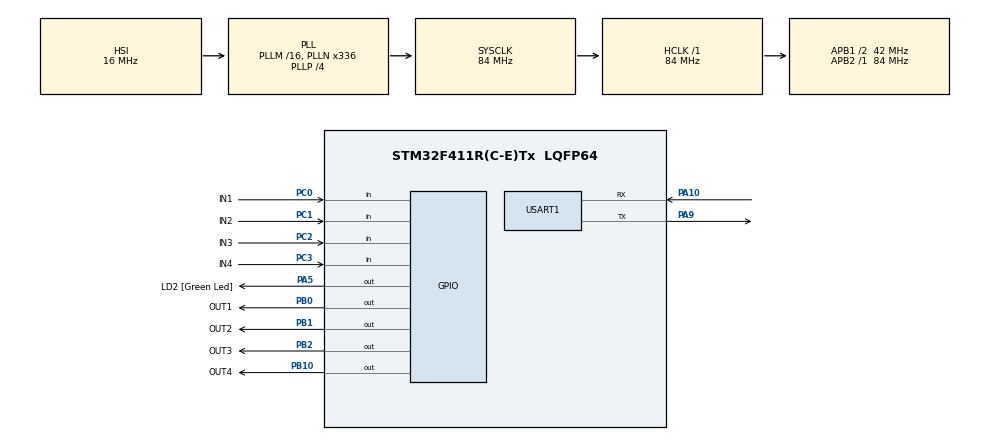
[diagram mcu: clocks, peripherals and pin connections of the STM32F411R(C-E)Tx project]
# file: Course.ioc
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FREERTOS.Tasks01=out1Task,0,128,StartOut1Task,Default,NULL,Dynamic,NULL,NULL;uartTask,-3,512,StartUartTask,Default,NULL,Dynamic,NULL,NULL;inputTask,1,512,StartInputTask,Default,NULL,Dynamic,NULL,NULL;out2Task,0,128,StartOut2Task,Default,NULL,Dynamic,NULL,NULL;out3Task,0,128,StartOut3Task,Default,NULL,Dynamic,NULL,NULL;out4Task,0,128,StartOut4Task,Default,NULL,Dynamic,NULL,NULL
FREERTOS.configUSE_NEWLIB_REENTRANT=0
Mcu.Family=STM32F4
Mcu.Name=STM32F411R(C-E)Tx
Mcu.Package=LQFP64
NVIC.PriorityGroup=NVIC_PRIORITYGROUP_4
NVIC.TIM5_IRQn=true\:15\:0\:false\:false\:true\:false\:false\:true\:true
NVIC.TimeBase=TIM5_IRQn
NVIC.TimeBaseIP=TIM5
PA10.Mode=Asynchronous
PA10.Signal=USART1_RX
PA13.GPIO_Label=TMS
PA13.Mode=Serial_Wire
PA13.Signal=SYS_JTMS-SWDIO
PA14.GPIO_Label=TCK
PA14.Mode=Serial_Wire
PA14.Signal=SYS_JTCK-SWCLK
PA5.GPIO_Label=LD2 [Green Led]
PA5.Signal=GPIO_Output
PA9.Mode=Asynchronous
PA9.Signal=USART1_TX
PB0.GPIO_Label=OUT1
PB0.Signal=GPIO_Output
PB1.GPIO_Label=OUT2
PB1.Signal=GPIO_Output
PB10.GPIO_Label=OUT4
PB10.Signal=GPIO_Output
PB2.GPIO_Label=OUT3
PB2.Signal=GPIO_Output
PB3.GPIO_Label=SWO
PB3.Signal=SYS_JTDO-SWO
PC0.GPIO_Label=IN1
PC0.GPIO_PuPd=GPIO_PULLUP
PC0.Signal=GPIO_Input
PC1.GPIO_Label=IN2
PC1.GPIO_PuPd=GPIO_PULLUP
PC1.Signal=GPIO_Input
PC14-OSC32_IN.Signal=RCC_OSC32_IN
PC15-OSC32_OUT.Signal=RCC_OSC32_OUT
PC2.GPIO_Label=IN3
PC2.GPIO_PuPd=GPIO_PULLUP
PC2.Signal=GPIO_Input
PC3.GPIO_Label=IN4
PC3.GPIO_PuPd=GPIO_PULLUP
PC3.Signal=GPIO_Input
PH0\ -\ OSC_IN.Signal=RCC_OSC_IN
PH1\ -\ OSC_OUT.Signal=RCC_OSC_OUT
ProjectManager.HeapSize=0x2000
ProjectManager.StackSize=0x800
ProjectManager.TargetToolchain=STM32CubeIDE
RCC.48MHZClocksFreq_Value=84000000
RCC.AHBFreq_Value=84000000
RCC.APB1CLKDivider=RCC_HCLK_DIV2
RCC.APB1Freq_Value=42000000
RCC.APB1TimFreq_Value=84000000
RCC.APB2Freq_Value=84000000
RCC.APB2TimFreq_Value=84000000
RCC.CortexFreq_Value=84000000
RCC.FLatency-AdvancedSettings=FLASH_LATENCY_2
RCC.HCLKFreq_Value=84000000
RCC.HSE_VALUE=8000000
RCC.HSI_VALUE=16000000
RCC.LSE_VALUE=32768
RCC.PLLN=336
RCC.PLLP=RCC_PLLP_DIV4
RCC.SYSCLKFreq_VALUE=84000000
RCC.SYSCLKSource=RCC_SYSCLKSOURCE_PLLCLK
RCC.VCOOutputFreq_Value=336000000
USART1.VirtualMode=VM_ASYNC
VP_FREERTOS_VS_CMSIS_V1.Mode=CMSIS_V1
VP_SYS_VS_tim5.Mode=TIM5
board=NUCLEO-F411RE

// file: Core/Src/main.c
/* USER CODE BEGIN Header */
/**
  ******************************************************************************
  * @file           : main.c
  * @brief          : Main program body
  ******************************************************************************
  * @attention
  *
  * Copyright (c) 2026 STMicroelectronics.
  * All rights reserved.
  *
  * This software is licensed under terms that can be found in the LICENSE file
  * in the root directory of this software component.
  * If no LICENSE file comes with this software, it is provided AS-IS.
  *
  ******************************************************************************
  */
/* USER CODE END Header */
#include "main.h"
#include "cmsis_os.h"

/* USER CODE BEGIN Includes */
#include <string.h>
#include <stdio.h>
#include "event_groups.h"
/* USER CODE END Includes */

/* USER CODE BEGIN PD */

#define EVT_OUT1_CHANGED   (1U << 0)
#define EVT_OUT2_CHANGED   (1U << 1)
#define EVT_OUT3_CHANGED   (1U << 2)
#define EVT_OUT4_CHANGED   (1U << 3)

#define OUT_COUNT 4

/* USER CODE END PD */

UART_HandleTypeDef huart1;

osThreadId out1TaskHandle;
osThreadId uartTaskHandle;
osThreadId inputTaskHandle;
osThreadId out2TaskHandle;
osThreadId out3TaskHandle;
osThreadId out4TaskHandle;
/* USER CODE BEGIN PV */
EventGroupHandle_t ctrlEventGroup;
static volatile uint8_t out_masks[OUT_COUNT] =
{
    0x08, //1000
    0x04, //0100
    0x02, //0010
    0x01  //0001
};

/*
 * bit0 -> OUT1
 * bit1 -> OUT2
 * bit2 -> OUT3
 * bit3 -> OUT4
 */
static volatile uint8_t g_output_state = 0x00U;
static char rx_line[64];
static size_t rx_pos = 0;
static volatile uint8_t g_mask_update_request = 0;
/* USER CODE END PV */

void SystemClock_Config(void);
static void MX_GPIO_Init(void);
static void MX_USART1_UART_Init(void);
void StartOut1Task(void const * argument);
void StartUartTask(void const * argument);
void StartInputTask(void const * argument);
void StartOut2Task(void const * argument);
void StartOut3Task(void const * argument);
void StartOut4Task(void const * argument);

/* USER CODE BEGIN PFP */
static void UartSend(const char *s);
static void ProcessCommand(char *cmd);
/* USER CODE END PFP */

/* USER CODE BEGIN 0 */

static void UartSend(const char *s)
{
  HAL_UART_Transmit(&huart1, (uint8_t*)s, (uint16_t)strlen(s), 100);
}

static void ProcessCommand(char *cmd)
{
  char resp[64];

  size_t n = strlen(cmd);
  while (n > 0 && (cmd[n - 1] == '\r' || cmd[n - 1] == '\n'))
  {
    cmd[n - 1] = '\0';
    n--;
  }

  /* In? — читаем пины напрямую */
  if (strcmp(cmd, "In?") == 0)
  {
    int in1 = (HAL_GPIO_ReadPin(IN1_GPIO_Port, IN1_Pin) == GPIO_PIN_RESET) ? 1 : 0;
    int in2 = (HAL_GPIO_ReadPin(IN2_GPIO_Port, IN2_Pin) == GPIO_PIN_RESET) ? 1 : 0;
    int in3 = (HAL_GPIO_ReadPin(IN3_GPIO_Port, IN3_Pin) == GPIO_PIN_RESET) ? 1 : 0;
    int in4 = (HAL_GPIO_ReadPin(IN4_GPIO_Port, IN4_Pin) == GPIO_PIN_RESET) ? 1 : 0;
    snprintf(resp, sizeof(resp), "IN: %d%d%d%d\r\n", in1, in2, in3, in4);
    UartSend(resp);
    return;
  }

  /* Mask? */
  if (strcmp(cmd, "Mask?") == 0)
  {
    char m[4][5];
    for (int i = 0; i < 4; i++)
    {
      m[i][0] = (out_masks[i] & 0x08U) ? '1' : '0';
      m[i][1] = (out_masks[i] & 0x04U) ? '1' : '0';
      m[i][2] = (out_masks[i] & 0x02U) ? '1' : '0';
      m[i][3] = (out_masks[i] & 0x01U) ? '1' : '0';
      m[i][4] = '\0';
    }
    snprintf(resp, sizeof(resp), "MASK: %s %s %s %s\r\n", m[0], m[1], m[2], m[3]);
    UartSend(resp);
    return;
  }

  /* Out? */
  if (strcmp(cmd, "Out?") == 0)
  {
    int o1 = (HAL_GPIO_ReadPin(OUT1_GPIO_Port, OUT1_Pin) == GPIO_PIN_SET) ? 1 : 0;
    int o2 = (HAL_GPIO_ReadPin(OUT2_GPIO_Port, OUT2_Pin) == GPIO_PIN_SET) ? 1 : 0;
    int o3 = (HAL_GPIO_ReadPin(OUT3_GPIO_Port, OUT3_Pin) == GPIO_PIN_SET) ? 1 : 0;
    int o4 = (HAL_GPIO_ReadPin(OUT4_GPIO_Port, OUT4_Pin) == GPIO_PIN_SET) ? 1 : 0;
    snprintf(resp, sizeof(resp), "OUT: %d %d %d %d\r\n", o1, o2, o3, o4);
    UartSend(resp);
    return;
  }

  /* Out N on/off */
  {
    int num;
    char action[8] = {0};
    if (sscanf(cmd, "Out %d %7s", &num, action) == 2)
    {
      if (num < 1 || num > 4)
      {
        UartSend("ERR: Out number must be 1-4\r\n");
        return;
      }

      GPIO_TypeDef* port;
      uint16_t pin;
      switch (num)
      {
        case 1: port = OUT1_GPIO_Port; pin = OUT1_Pin; break;
        case 2: port = OUT2_GPIO_Port; pin = OUT2_Pin; break;
        case 3: port = OUT3_GPIO_Port; pin = OUT3_Pin; break;
        case 4: port = OUT4_GPIO_Port; pin = OUT4_Pin; break;
        default: return;
      }

      if (strcmp(action, "on") == 0)
      {
        HAL_GPIO_WritePin(port, pin, GPIO_PIN_SET);
        snprintf(resp, sizeof(resp), "OK: Out %d on\r\n", num);
        UartSend(resp);
        return;
      }
      else if (strcmp(action, "off") == 0)
      {
        HAL_GPIO_WritePin(port, pin, GPIO_PIN_RESET);
        snprintf(resp, sizeof(resp), "OK: Out %d off\r\n", num);
        UartSend(resp);
        return;
      }
      else
      {
        UartSend("ERR: use Out N on or Out N off\r\n");
        return;
      }
    }
  }

  /* Mask XXXX XXXX XXXX XXXX */
  {
    char m[4][8] = {{0}};
    if (sscanf(cmd, "Mask %4s %4s %4s %4s", m[0], m[1], m[2], m[3]) == 4)
    {
      int valid = 1;
      for (int i = 0; i < 4; i++)
      {
        if (strlen(m[i]) != 4) { valid = 0; break; }
        for (int j = 0; j < 4; j++)
        {
          if (m[i][j] != '0' && m[i][j] != '1') { valid = 0; break; }
        }
        if (!valid) break;
      }

      if (!valid)
      {
        UartSend("ERR: use Mask XXXX XXXX XXXX XXXX\r\n");
        return;
      }

      for (int i = 0; i < 4; i++)
      {
        out_masks[i] = (uint8_t)((m[i][0] == '1' ? 0x08U : 0U) |
                                 (m[i][1] == '1' ? 0x04U : 0U) |
                                 (m[i][2] == '1' ? 0x02U : 0U) |
                                 (m[i][3] == '1' ? 0x01U : 0U));
      }

      g_mask_update_request = 1;

      snprintf(resp, sizeof(resp), "OK: MASK=%s %s %s %s\r\n", m[0], m[1], m[2], m[3]);
      UartSend(resp);
      return;
    }
  }

  UartSend("ERR: unknown command\r\n");
}

/* USER CODE END 0 */

int main(void)
{

  /* MCU Configuration--------------------------------------------------------*/

  /* Reset of all peripherals, Initializes the Flash interface and the Systick. */
  HAL_Init();

  /* Configure the system clock */
  SystemClock_Config();

  /* Initialize all configured peripherals */
  MX_GPIO_Init();
  MX_USART1_UART_Init();
  /* USER CODE BEGIN 2 */
  ctrlEventGroup = xEventGroupCreate();
  /* USER CODE END 2 */

  /* Create the thread(s) */
  /* definition and creation of out1Task */
  osThreadDef(out1Task, StartOut1Task, osPriorityNormal, 0, 128);
  out1TaskHandle = osThreadCreate(osThread(out1Task), NULL);

  /* definition and creation of uartTask */
  osThreadDef(uartTask, StartUartTask, osPriorityIdle, 0, 512);
  uartTaskHandle = osThreadCreate(osThread(uartTask), NULL);

  /* definition and creation of inputTask */
  osThreadDef(inputTask, StartInputTask, osPriorityAboveNormal, 0, 512);
  inputTaskHandle = osThreadCreate(osThread(inputTask), NULL);

  /* definition and creation of out2Task */
  osThreadDef(out2Task, StartOut2Task, osPriorityNormal, 0, 128);
  out2TaskHandle = osThreadCreate(osThread(out2Task), NULL);

  /* definition and creation of out3Task */
  osThreadDef(out3Task, StartOut3Task, osPriorityNormal, 0, 128);
  out3TaskHandle = osThreadCreate(osThread(out3Task), NULL);

  /* definition and creation of out4Task */
  osThreadDef(out4Task, StartOut4Task, osPriorityNormal, 0, 128);
  out4TaskHandle = osThreadCreate(osThread(out4Task), NULL);

  /* Start scheduler */
  osKernelStart();

  /* We should never get here as control is now taken by the scheduler */

  /* Infinite loop */
  while (1)
  {

  }
}

void SystemClock_Config(void)
{
  RCC_OscInitTypeDef RCC_OscInitStruct = {0};
  RCC_ClkInitTypeDef RCC_ClkInitStruct = {0};

  /** Configure the main internal regulator output voltage
  */
  __HAL_RCC_PWR_CLK_ENABLE();
  __HAL_PWR_VOLTAGESCALING_CONFIG(PWR_REGULATOR_VOLTAGE_SCALE1);

  /** Initializes the RCC Oscillators according to the specified parameters
  * in the RCC_OscInitTypeDef structure.
  */
  RCC_OscInitStruct.OscillatorType = RCC_OSCILLATORTYPE_HSI;
  RCC_OscInitStruct.HSIState = RCC_HSI_ON;
  RCC_OscInitStruct.HSICalibrationValue = RCC_HSICALIBRATION_DEFAULT;
  RCC_OscInitStruct.PLL.PLLState = RCC_PLL_ON;
  RCC_OscInitStruct.PLL.PLLSource = RCC_PLLSOURCE_HSI;
  RCC_OscInitStruct.PLL.PLLM = 16;
  RCC_OscInitStruct.PLL.PLLN = 336;
  RCC_OscInitStruct.PLL.PLLP = RCC_PLLP_DIV4;
  RCC_OscInitStruct.PLL.PLLQ = 4;
  if (HAL_RCC_OscConfig(&RCC_OscInitStruct) != HAL_OK)
  {
    Error_Handler();
  }

  /** Initializes the CPU, AHB and APB buses clocks
  */
  RCC_ClkInitStruct.ClockType = RCC_CLOCKTYPE_HCLK|RCC_CLOCKTYPE_SYSCLK
                              |RCC_CLOCKTYPE_PCLK1|RCC_CLOCKTYPE_PCLK2;
  RCC_ClkInitStruct.SYSCLKSource = RCC_SYSCLKSOURCE_PLLCLK;
  RCC_ClkInitStruct.AHBCLKDivider = RCC_SYSCLK_DIV1;
  RCC_ClkInitStruct.APB1CLKDivider = RCC_HCLK_DIV2;
  RCC_ClkInitStruct.APB2CLKDivider = RCC_HCLK_DIV1;

  if (HAL_RCC_ClockConfig(&RCC_ClkInitStruct, FLASH_LATENCY_2) != HAL_OK)
  {
    Error_Handler();
  }
}

static void MX_USART1_UART_Init(void)
{

  huart1.Instance = USART1;
  huart1.Init.BaudRate = 115200;
  huart1.Init.WordLength = UART_WORDLENGTH_8B;
  huart1.Init.StopBits = UART_STOPBITS_1;
  huart1.Init.Parity = UART_PARITY_NONE;
  huart1.Init.Mode = UART_MODE_TX_RX;
  huart1.Init.HwFlowCtl = UART_HWCONTROL_NONE;
  huart1.Init.OverSampling = UART_OVERSAMPLING_16;
  if (HAL_UART_Init(&huart1) != HAL_OK)
  {
    Error_Handler();
  }

}

static void MX_GPIO_Init(void)
{
  GPIO_InitTypeDef GPIO_InitStruct = {0};

  /* GPIO Ports Clock Enable */
  __HAL_RCC_GPIOC_CLK_ENABLE();
  __HAL_RCC_GPIOH_CLK_ENABLE();
  __HAL_RCC_GPIOA_CLK_ENABLE();
  __HAL_RCC_GPIOB_CLK_ENABLE();

  /*Configure GPIO pin Output Level */
  HAL_GPIO_WritePin(LD2_GPIO_Port, LD2_Pin, GPIO_PIN_RESET);

  /*Configure GPIO pin Output Level */
  HAL_GPIO_WritePin(GPIOB, OUT1_Pin|OUT2_Pin|OUT3_Pin|OUT4_Pin, GPIO_PIN_RESET);

  /*Configure GPIO pins : IN1_Pin IN2_Pin IN3_Pin IN4_Pin */
  GPIO_InitStruct.Pin = IN1_Pin|IN2_Pin|IN3_Pin|IN4_Pin;
  GPIO_InitStruct.Mode = GPIO_MODE_INPUT;
  GPIO_InitStruct.Pull = GPIO_PULLUP;
  HAL_GPIO_Init(GPIOC, &GPIO_InitStruct);

  /*Configure GPIO pin : LD2_Pin */
  GPIO_InitStruct.Pin = LD2_Pin;
  GPIO_InitStruct.Mode = GPIO_MODE_OUTPUT_PP;
  GPIO_InitStruct.Pull = GPIO_NOPULL;
  GPIO_InitStruct.Speed = GPIO_SPEED_FREQ_LOW;
  HAL_GPIO_Init(LD2_GPIO_Port, &GPIO_InitStruct);

  /*Configure GPIO pins : OUT1_Pin OUT2_Pin OUT3_Pin OUT4_Pin */
  GPIO_InitStruct.Pin = OUT1_Pin|OUT2_Pin|OUT3_Pin|OUT4_Pin;
  GPIO_InitStruct.Mode = GPIO_MODE_OUTPUT_PP;
  GPIO_InitStruct.Pull = GPIO_NOPULL;
  GPIO_InitStruct.Speed = GPIO_SPEED_FREQ_LOW;
  HAL_GPIO_Init(GPIOB, &GPIO_InitStruct);

}

/* USER CODE BEGIN 4 */
void vApplicationMallocFailedHook(void)
{
    taskDISABLE_INTERRUPTS();

    while (1)
    {
    }
}

void vApplicationStackOverflowHook(
    TaskHandle_t xTask,
    char *pcTaskName)
{
    (void)xTask;
    (void)pcTaskName;

    taskDISABLE_INTERRUPTS();

    while (1)
    {
    }
}

/* USER CODE END 4 */

void StartOut1Task(void const * argument)
{
  /* USER CODE BEGIN 5 */
  /* Infinite loop */
    for (;;)
    {
        xEventGroupWaitBits(
            ctrlEventGroup,
            EVT_OUT1_CHANGED,
            pdTRUE,
            pdFALSE,
            portMAX_DELAY
        );

        if (g_output_state & (1U << 0))
        {
            HAL_GPIO_WritePin(
                OUT1_GPIO_Port,
                OUT1_Pin,
                GPIO_PIN_SET
            );
        }
        else
        {
            HAL_GPIO_WritePin(
                OUT1_GPIO_Port,
                OUT1_Pin,
                GPIO_PIN_RESET
            );
        }
    }
  /* USER CODE END 5 */
}

void StartUartTask(void const * argument)
{
  /* USER CODE BEGIN StartUartTask */
  uint8_t ch;

  for(;;)
  {
    if (HAL_UART_Receive(&huart1, &ch, 1, 0) == HAL_OK)
    {
		if (ch == '\r' || ch == '\n')
		{
			if (rx_pos == 0)
			{
				continue;
			}

			rx_line[rx_pos] = '\0';
			ProcessCommand(rx_line);
			rx_pos = 0;
		}
		else
			{
			if (rx_pos < sizeof(rx_line) - 1)
				{
				  rx_line[rx_pos++] = (char)ch;
				}
			else
				{
				  rx_pos = 0;
				  UartSend("ERR: line too long\r\n");
				}
		}
    }
    osDelay(2);
  }
  /* USER CODE END StartUartTask */
}

void StartInputTask(void const * argument)
{
  /* USER CODE BEGIN StartInputTask */
  /* Infinite loop */
    uint8_t stable = 0xFFU;
    uint8_t debounce_ctr = 0;
    uint8_t prev_conditions = 0x00U;

    for (;;)
    {
        /*
         * Read inputs
         * Pull-up inputs:
         * released = 1
         * pressed  = 0
         */
        uint8_t curr = (uint8_t)(
                ((HAL_GPIO_ReadPin(IN1_GPIO_Port, IN1_Pin) == GPIO_PIN_SET) ? 0x08U : 0U) |
                ((HAL_GPIO_ReadPin(IN2_GPIO_Port, IN2_Pin) == GPIO_PIN_SET) ? 0x04U : 0U) |
                ((HAL_GPIO_ReadPin(IN3_GPIO_Port, IN3_Pin) == GPIO_PIN_SET) ? 0x02U : 0U) |
                ((HAL_GPIO_ReadPin(IN4_GPIO_Port, IN4_Pin) == GPIO_PIN_SET) ? 0x01U : 0U)
            );

        // Debounce
        if ((curr == stable) && (g_mask_update_request == 0U))
        {
            debounce_ctr = 0;
        }
        else
        {
            debounce_ctr++;
            /* 20 ms debounce */
            if (debounce_ctr >= 2)
            {
                stable = curr;
                debounce_ctr = 0;
                g_mask_update_request = 0U;

                // Active-low -> pressed = 1
                uint8_t inv = (uint8_t)(~stable & 0x0FU);

                // Calculate output conditions
                uint8_t new_conditions = 0x00U;

                for (uint8_t i = 0; i < OUT_COUNT; i++)
                {
                    uint8_t mask = out_masks[i];

                    if ((mask != 0x00U) && ((inv & mask) == mask))
                    {
                        new_conditions |= (1U << i);
                    }
                }

                // Save new logical output state
                g_output_state = new_conditions;

                // Detect changed outputs
                uint8_t changed = (uint8_t)(new_conditions ^ prev_conditions);

                // Notify only changed outputs
                if (changed & (1U << 0))
                {
                    xEventGroupSetBits(ctrlEventGroup, EVT_OUT1_CHANGED);
                }

                if (changed & (1U << 1))
                {
                    xEventGroupSetBits(ctrlEventGroup, EVT_OUT2_CHANGED);
                }

                if (changed & (1U << 2))
                {
                    xEventGroupSetBits(ctrlEventGroup, EVT_OUT3_CHANGED);
                }

                if (changed & (1U << 3))
                {
                    xEventGroupSetBits(ctrlEventGroup, EVT_OUT4_CHANGED);
                }

                prev_conditions = new_conditions;
            }
        }

        osDelay(10);
    }
  /* USER CODE END StartInputTask */
}

void StartOut2Task(void const * argument)
{
  /* USER CODE BEGIN StartOut2Task */
  /* Infinite loop */
    for (;;)
    {
        xEventGroupWaitBits(
            ctrlEventGroup,
            EVT_OUT2_CHANGED,
            pdTRUE,
            pdFALSE,
            portMAX_DELAY
        );

        if (g_output_state & (1U << 1))
        {
            HAL_GPIO_WritePin(
                OUT2_GPIO_Port,
                OUT2_Pin,
                GPIO_PIN_SET
            );
        }
        else
        {
            HAL_GPIO_WritePin(
                OUT2_GPIO_Port,
                OUT2_Pin,
                GPIO_PIN_RESET
            );
        }
    }
  /* USER CODE END StartOut2Task */
}

void StartOut3Task(void const * argument)
{
  /* USER CODE BEGIN StartOut3Task */
	  /* Infinite loop */
    for (;;)
    {
        xEventGroupWaitBits(
            ctrlEventGroup,
            EVT_OUT3_CHANGED,
            pdTRUE,
            pdFALSE,
            portMAX_DELAY
        );

        if (g_output_state & (1U << 2))
        {
            HAL_GPIO_WritePin(
                OUT3_GPIO_Port,
                OUT3_Pin,
                GPIO_PIN_SET
            );
        }
        else
        {
            HAL_GPIO_WritePin(
                OUT3_GPIO_Port,
                OUT3_Pin,
                GPIO_PIN_RESET
            );
        }
    }
  /* USER CODE END StartOut3Task */
}

void StartOut4Task(void const * argument)
{
  /* USER CODE BEGIN StartOut4Task */
	  /* Infinite loop */
    for (;;)
    {
        xEventGroupWaitBits(ctrlEventGroup, EVT_OUT4_CHANGED, pdTRUE, pdFALSE, portMAX_DELAY);

        if (g_output_state & (1U << 3))
        {
            HAL_GPIO_WritePin(OUT4_GPIO_Port, OUT4_Pin, GPIO_PIN_SET);
        }
        else
        {
            HAL_GPIO_WritePin(OUT4_GPIO_Port, OUT4_Pin, GPIO_PIN_RESET);
        }
    }
  /* USER CODE END StartOut4Task */
}

void HAL_TIM_PeriodElapsedCallback(TIM_HandleTypeDef *htim)
{
  if (htim->Instance == TIM5)
  {
    HAL_IncTick();
  }
}

void Error_Handler(void)
{
  __disable_irq();
  while (1)
  {
  }
}
